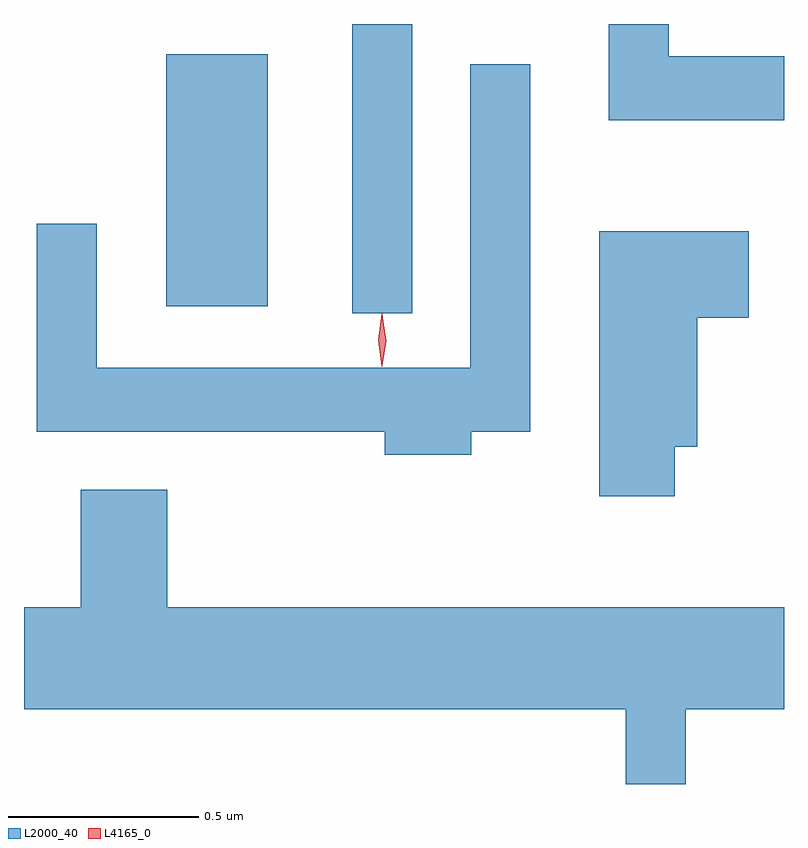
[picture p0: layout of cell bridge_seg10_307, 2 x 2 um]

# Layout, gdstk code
import gdstk
lib = gdstk.Library(unit=1e-6, precision=1e-09)
def R(c, l, rs):  # rectangles x0, y0, x1, y1
    for r in rs: c.add(gdstk.rectangle(r[:2], r[2:], *l))
def P(c, l, *ps):  # polygons
    for p in ps: c.add(gdstk.Polygon(p, *l))
L2000_40 = (2000, 40)
L4165_0 = (4165, 0)

bridge_seg10_307 = lib.new_cell('bridge_seg10_307')
R(bridge_seg10_307, L2000_40, [(1451.186,2183.778,1451.344,2184.539), (1450.696,2183.796,1450.964,2184.459)])
P(bridge_seg10_307, L2000_40, [(1452.322,2184.454),(1452.019,2184.454),(1452.019,2184.539),(1451.861,2184.539),(1451.861,2184.286),(1452.322,2184.286)],
  [(1451.499,2183.466),(1451.654,2183.466),(1451.654,2184.433),(1451.496,2184.433),(1451.496,2183.634),(1450.514,2183.634),(1450.514,2184.013),(1450.356,2184.013),(1450.356,2183.466),(1451.271,2183.466),(1451.271,2183.406),(1451.499,2183.406)],
  [(1452.034,2183.426),(1452.094,2183.426),(1452.094,2183.766),(1452.229,2183.766),(1452.229,2183.994),(1451.836,2183.994),(1451.836,2183.296),(1452.034,2183.296)],
  [(1452.064,2182.736),(1452.322,2182.736),(1452.322,2183.004),(1450.699,2183.004),(1450.699,2183.314),(1450.471,2183.314),(1450.471,2183.004),(1450.322,2183.004),(1450.322,2182.736),(1451.906,2182.736),(1451.906,2182.539),(1452.064,2182.539)])
P(bridge_seg10_307, L4165_0, [(1451.263,2183.637),(1451.263,2183.638),(1451.254,2183.707),(1451.264,2183.776),(1451.264,2183.776),(1451.265,2183.776),(1451.274,2183.707),(1451.264,2183.638)],
  [(1451.265,2183.639),(1451.264,2183.64),(1451.255,2183.706),(1451.264,2183.772),(1451.265,2183.773),(1451.265,2183.772),(1451.275,2183.706),(1451.265,2183.64)])

lib.write_gds('bridge_seg10_307.gds')
